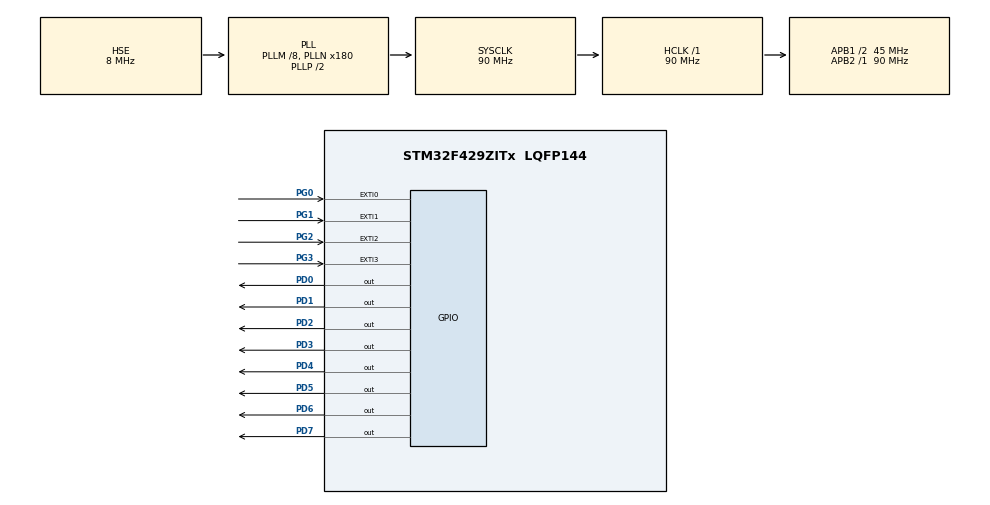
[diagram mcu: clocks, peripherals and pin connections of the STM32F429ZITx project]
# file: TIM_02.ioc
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Mcu.Family=STM32F4
Mcu.Name=STM32F429ZITx
Mcu.Package=LQFP144
NVIC.EXTI0_IRQn=true\:0\:0\:false\:false\:true\:true\:true\:true
NVIC.EXTI1_IRQn=true\:0\:0\:false\:false\:true\:true\:true\:true
NVIC.EXTI2_IRQn=true\:0\:0\:false\:false\:true\:true\:true\:true
NVIC.EXTI3_IRQn=true\:0\:0\:false\:false\:true\:true\:true\:true
NVIC.FPU_IRQn=true\:0\:0\:false\:false\:true\:true\:false\:true
NVIC.PriorityGroup=NVIC_PRIORITYGROUP_4
NVIC.TIM4_IRQn=true\:0\:0\:false\:false\:true\:true\:true\:true
PA13.Mode=Serial_Wire
PA13.Signal=SYS_JTMS-SWDIO
PA14.Mode=Serial_Wire
PA14.Signal=SYS_JTCK-SWCLK
PD0.GPIO_ModeDefaultOutputPP=GPIO_MODE_OUTPUT_PP
PD0.GPIO_PuPd=GPIO_PULLUP
PD0.GPIO_Speed=GPIO_SPEED_FREQ_HIGH
PD0.PinState=GPIO_PIN_RESET
PD0.Signal=GPIO_Output
PD1.GPIO_ModeDefaultOutputPP=GPIO_MODE_OUTPUT_PP
PD1.GPIO_PuPd=GPIO_PULLUP
PD1.GPIO_Speed=GPIO_SPEED_FREQ_HIGH
PD1.PinState=GPIO_PIN_RESET
PD1.Signal=GPIO_Output
PD2.GPIO_ModeDefaultOutputPP=GPIO_MODE_OUTPUT_PP
PD2.GPIO_PuPd=GPIO_PULLUP
PD2.GPIO_Speed=GPIO_SPEED_FREQ_HIGH
PD2.PinState=GPIO_PIN_RESET
PD2.Signal=GPIO_Output
PD3.GPIO_ModeDefaultOutputPP=GPIO_MODE_OUTPUT_PP
PD3.GPIO_PuPd=GPIO_PULLUP
PD3.GPIO_Speed=GPIO_SPEED_FREQ_HIGH
PD3.PinState=GPIO_PIN_RESET
PD3.Signal=GPIO_Output
PD4.GPIO_ModeDefaultOutputPP=GPIO_MODE_OUTPUT_PP
PD4.GPIO_PuPd=GPIO_PULLUP
PD4.GPIO_Speed=GPIO_SPEED_FREQ_HIGH
PD4.PinState=GPIO_PIN_RESET
PD4.Signal=GPIO_Output
PD5.GPIO_ModeDefaultOutputPP=GPIO_MODE_OUTPUT_PP
PD5.GPIO_PuPd=GPIO_PULLUP
PD5.GPIO_Speed=GPIO_SPEED_FREQ_HIGH
PD5.PinState=GPIO_PIN_RESET
PD5.Signal=GPIO_Output
PD6.GPIO_ModeDefaultOutputPP=GPIO_MODE_OUTPUT_PP
PD6.GPIO_PuPd=GPIO_PULLUP
PD6.GPIO_Speed=GPIO_SPEED_FREQ_HIGH
PD6.PinState=GPIO_PIN_RESET
PD6.Signal=GPIO_Output
PD7.GPIO_ModeDefaultOutputPP=GPIO_MODE_OUTPUT_PP
PD7.GPIO_PuPd=GPIO_PULLUP
PD7.GPIO_Speed=GPIO_SPEED_FREQ_HIGH
PD7.PinState=GPIO_PIN_RESET
PD7.Signal=GPIO_Output
PG0.GPIO_ModeDefaultEXTI=GPIO_MODE_IT_FALLING
PG0.GPIO_PuPd=GPIO_NOPULL
PG0.Signal=GPXTI0
PG1.GPIO_ModeDefaultEXTI=GPIO_MODE_IT_FALLING
PG1.GPIO_PuPd=GPIO_NOPULL
PG1.Signal=GPXTI1
PG2.GPIO_ModeDefaultEXTI=GPIO_MODE_IT_FALLING
PG2.GPIO_PuPd=GPIO_NOPULL
PG2.Signal=GPXTI2
PG3.GPIO_ModeDefaultEXTI=GPIO_MODE_IT_FALLING
PG3.GPIO_PuPd=GPIO_NOPULL
PG3.Signal=GPXTI3
PH0/OSC_IN.Mode=HSE-External-Clock-Source
PH0/OSC_IN.Signal=RCC_OSC_IN
PH1/OSC_OUT.Mode=HSE-External-Clock-Source
PH1/OSC_OUT.Signal=RCC_OSC_OUT
ProjectManager.HeapSize=0x200
ProjectManager.StackSize=0x400
ProjectManager.TargetToolchain=STM32CubeIDE
RCC.48MHZClocksFreq_Value=45000000
RCC.AHBFreq_Value=90000000
RCC.APB1CLKDivider=RCC_HCLK_DIV2
RCC.APB1Freq_Value=45000000
RCC.APB1TimFreq_Value=90000000
RCC.APB2Freq_Value=90000000
RCC.APB2TimFreq_Value=90000000
RCC.CortexFreq_Value=90000000
RCC.HCLKFreq_Value=90000000
RCC.HSE_VALUE=8000000
RCC.HSI_VALUE=16000000
RCC.LSE_VALUE=32768
RCC.PLLM=8
RCC.PLLN=180
RCC.PLLSourceVirtual=RCC_PLLSOURCE_HSE
RCC.SYSCLKFreq_VALUE=90000000
RCC.SYSCLKSource=RCC_SYSCLKSOURCE_PLLCLK
RCC.VCOOutputFreq_Value=180000000
TIM4.Period=9999
TIM4.Prescaler=8999
VP_TIM4_VS_ClockSourceINT.Mode=Internal
board=custom

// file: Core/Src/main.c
/* USER CODE BEGIN Header */
/**
  ******************************************************************************
  * @file           : main.c
  * @brief          : Main program body
  ******************************************************************************
  * @attention
  *
  * Copyright (c) 2022 STMicroelectronics.
  * All rights reserved.
  *
  * This software is licensed under terms that can be found in the LICENSE file
  * in the root directory of this software component.
  * If no LICENSE file comes with this software, it is provided AS-IS.
  *
  ******************************************************************************
  */
/* USER CODE END Header */
#include "main.h"

TIM_HandleTypeDef htim4;

void SystemClock_Config(void);
static void MX_GPIO_Init(void);
static void MX_TIM4_Init(void);
/* USER CODE BEGIN PFP */
void LED_OnOff(int, int);
int speed = 0;
/* USER CODE END PFP */

int main(void)
{
  /* USER CODE BEGIN 1 */
   uint16_t led = 0x01;
  /* USER CODE END 1 */

  /* MCU Configuration--------------------------------------------------------*/

  /* Reset of all peripherals, Initializes the Flash interface and the Systick. */
  HAL_Init();

  /* Configure the system clock */
  SystemClock_Config();

  /* Initialize all configured peripherals */
  MX_GPIO_Init();
  MX_TIM4_Init();
  /* USER CODE BEGIN 2 */
  LED_OnOff(LED_ALL, 500);
  HAL_TIM_Base_Start_IT(&htim4);
  HAL_TIM_OC_Start_IT(&htim4, TIM_CHANNEL_1);
  /* USER CODE END 2 */

  /* Infinite loop */
  /* USER CODE BEGIN WHILE */
  while (1)
  {
       led<<=1;
        if(led>0x80) led=0x01;
        LED_OnOff(led, 500/speed);
    }
    /* USER CODE END WHILE */

}

void SystemClock_Config(void)
{
  RCC_OscInitTypeDef RCC_OscInitStruct = {0};
  RCC_ClkInitTypeDef RCC_ClkInitStruct = {0};

  /** Configure the main internal regulator output voltage
  */
  __HAL_RCC_PWR_CLK_ENABLE();
  __HAL_PWR_VOLTAGESCALING_CONFIG(PWR_REGULATOR_VOLTAGE_SCALE3);

  /** Initializes the RCC Oscillators according to the specified parameters
  * in the RCC_OscInitTypeDef structure.
  */
  RCC_OscInitStruct.OscillatorType = RCC_OSCILLATORTYPE_HSE;
  RCC_OscInitStruct.HSEState = RCC_HSE_BYPASS;
  RCC_OscInitStruct.PLL.PLLState = RCC_PLL_ON;
  RCC_OscInitStruct.PLL.PLLSource = RCC_PLLSOURCE_HSE;
  RCC_OscInitStruct.PLL.PLLM = 8;
  RCC_OscInitStruct.PLL.PLLN = 180;
  RCC_OscInitStruct.PLL.PLLP = RCC_PLLP_DIV2;
  RCC_OscInitStruct.PLL.PLLQ = 4;
  if (HAL_RCC_OscConfig(&RCC_OscInitStruct) != HAL_OK)
  {
    Error_Handler();
  }

  /** Activate the Over-Drive mode
  */
  if (HAL_PWREx_EnableOverDrive() != HAL_OK)
  {
    Error_Handler();
  }

  /** Initializes the CPU, AHB and APB buses clocks
  */
  RCC_ClkInitStruct.ClockType = RCC_CLOCKTYPE_HCLK|RCC_CLOCKTYPE_SYSCLK
                              |RCC_CLOCKTYPE_PCLK1|RCC_CLOCKTYPE_PCLK2;
  RCC_ClkInitStruct.SYSCLKSource = RCC_SYSCLKSOURCE_PLLCLK;
  RCC_ClkInitStruct.AHBCLKDivider = RCC_SYSCLK_DIV1;
  RCC_ClkInitStruct.APB1CLKDivider = RCC_HCLK_DIV2;
  RCC_ClkInitStruct.APB2CLKDivider = RCC_HCLK_DIV1;

  if (HAL_RCC_ClockConfig(&RCC_ClkInitStruct, FLASH_LATENCY_2) != HAL_OK)
  {
    Error_Handler();
  }
}

static void MX_TIM4_Init(void)
{

  TIM_ClockConfigTypeDef sClockSourceConfig = {0};
  TIM_MasterConfigTypeDef sMasterConfig = {0};

  htim4.Instance = TIM4;
  htim4.Init.Prescaler = 8999;
  htim4.Init.CounterMode = TIM_COUNTERMODE_UP;
  htim4.Init.Period = 9999;
  htim4.Init.ClockDivision = TIM_CLOCKDIVISION_DIV1;
  htim4.Init.AutoReloadPreload = TIM_AUTORELOAD_PRELOAD_DISABLE;
  if (HAL_TIM_Base_Init(&htim4) != HAL_OK)
  {
    Error_Handler();
  }
  sClockSourceConfig.ClockSource = TIM_CLOCKSOURCE_INTERNAL;
  if (HAL_TIM_ConfigClockSource(&htim4, &sClockSourceConfig) != HAL_OK)
  {
    Error_Handler();
  }
  sMasterConfig.MasterOutputTrigger = TIM_TRGO_RESET;
  sMasterConfig.MasterSlaveMode = TIM_MASTERSLAVEMODE_DISABLE;
  if (HAL_TIMEx_MasterConfigSynchronization(&htim4, &sMasterConfig) != HAL_OK)
  {
    Error_Handler();
  }

}

static void MX_GPIO_Init(void)
{
  GPIO_InitTypeDef GPIO_InitStruct = {0};

  /* GPIO Ports Clock Enable */
  __HAL_RCC_GPIOH_CLK_ENABLE();
  __HAL_RCC_GPIOG_CLK_ENABLE();
  __HAL_RCC_GPIOA_CLK_ENABLE();
  __HAL_RCC_GPIOD_CLK_ENABLE();

  /*Configure GPIO pin Output Level */
  HAL_GPIO_WritePin(GPIOD, GPIO_PIN_0|GPIO_PIN_1|GPIO_PIN_2|GPIO_PIN_3
                          |GPIO_PIN_4|GPIO_PIN_5|GPIO_PIN_6|GPIO_PIN_7, GPIO_PIN_RESET);

  /*Configure GPIO pins : PG0 PG1 PG2 PG3 */
  GPIO_InitStruct.Pin = GPIO_PIN_0|GPIO_PIN_1|GPIO_PIN_2|GPIO_PIN_3;
  GPIO_InitStruct.Mode = GPIO_MODE_IT_FALLING;
  GPIO_InitStruct.Pull = GPIO_NOPULL;
  HAL_GPIO_Init(GPIOG, &GPIO_InitStruct);

  /*Configure GPIO pins : PD0 PD1 PD2 PD3
                           PD4 PD5 PD6 PD7 */
  GPIO_InitStruct.Pin = GPIO_PIN_0|GPIO_PIN_1|GPIO_PIN_2|GPIO_PIN_3
                          |GPIO_PIN_4|GPIO_PIN_5|GPIO_PIN_6|GPIO_PIN_7;
  GPIO_InitStruct.Mode = GPIO_MODE_OUTPUT_PP;
  GPIO_InitStruct.Pull = GPIO_PULLUP;
  GPIO_InitStruct.Speed = GPIO_SPEED_FREQ_HIGH;
  HAL_GPIO_Init(GPIOD, &GPIO_InitStruct);

  /* EXTI interrupt init*/
  HAL_NVIC_SetPriority(EXTI0_IRQn, 0, 0);
  HAL_NVIC_EnableIRQ(EXTI0_IRQn);

  HAL_NVIC_SetPriority(EXTI1_IRQn, 0, 0);
  HAL_NVIC_EnableIRQ(EXTI1_IRQn);

  HAL_NVIC_SetPriority(EXTI2_IRQn, 0, 0);
  HAL_NVIC_EnableIRQ(EXTI2_IRQn);

  HAL_NVIC_SetPriority(EXTI3_IRQn, 0, 0);
  HAL_NVIC_EnableIRQ(EXTI3_IRQn);

}

/* USER CODE BEGIN 4 */
void LED_OnOff(int led, int interval){
   HAL_GPIO_WritePin(GPIO_LED, led, GPIO_PIN_SET);
   HAL_GPIO_WritePin(GPIO_LED_Nucleo, led, GPIO_PIN_SET);

   HAL_Delay(interval);

   HAL_GPIO_WritePin(GPIO_LED, led, GPIO_PIN_RESET);
   HAL_GPIO_WritePin(GPIO_LED_Nucleo, led, GPIO_PIN_RESET);
}
void HAL_TIM_PeriodElapsedCallback(TIM_HandleTypeDef *htim)
{
   if (htim -> Instance == TIM4) {
      speed ++;
   }
}

/* USER CODE END 4 */

void Error_Handler(void)
{
  __disable_irq();
  while (1)
  {
  }
}
